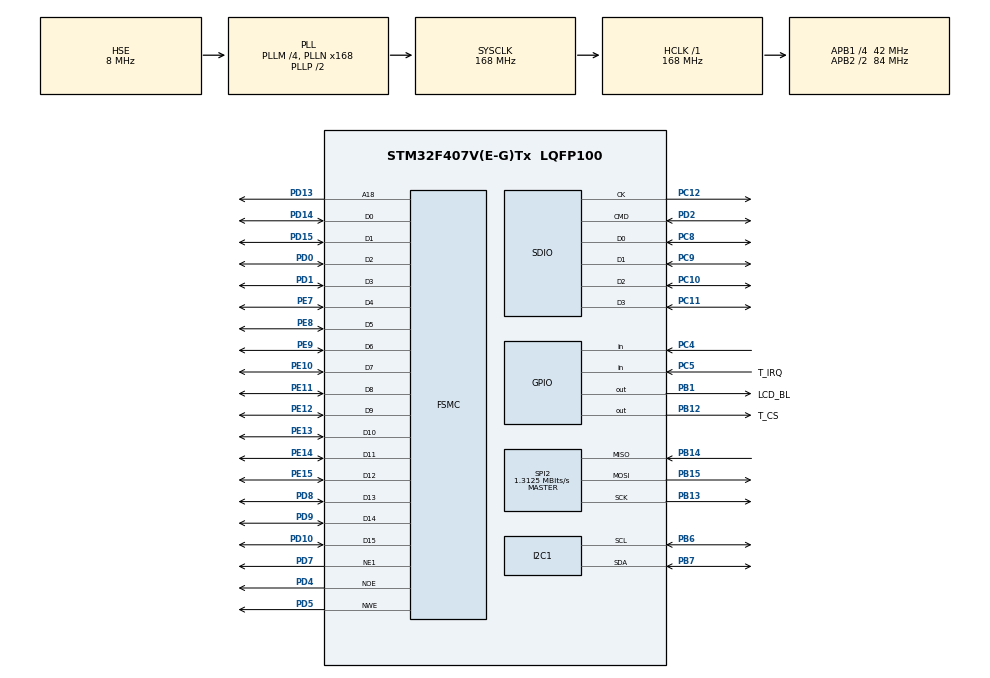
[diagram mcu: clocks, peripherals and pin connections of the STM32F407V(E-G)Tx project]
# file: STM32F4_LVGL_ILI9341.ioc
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Dma.MEMTOMEM.0.Direction=DMA_MEMORY_TO_MEMORY
Dma.MEMTOMEM.0.FIFOMode=DMA_FIFOMODE_ENABLE
Dma.MEMTOMEM.0.FIFOThreshold=DMA_FIFO_THRESHOLD_FULL
Dma.MEMTOMEM.0.Instance=DMA2_Stream0
Dma.MEMTOMEM.0.MemBurst=DMA_MBURST_SINGLE
Dma.MEMTOMEM.0.MemDataAlignment=DMA_MDATAALIGN_HALFWORD
Dma.MEMTOMEM.0.MemInc=DMA_MINC_DISABLE
Dma.MEMTOMEM.0.Mode=DMA_NORMAL
Dma.MEMTOMEM.0.PeriphBurst=DMA_PBURST_SINGLE
Dma.MEMTOMEM.0.PeriphDataAlignment=DMA_PDATAALIGN_HALFWORD
Dma.MEMTOMEM.0.PeriphInc=DMA_PINC_ENABLE
Dma.MEMTOMEM.0.Priority=DMA_PRIORITY_LOW
Dma.Request0=MEMTOMEM
Dma.Request1=SDIO_RX
Dma.Request2=SDIO_TX
Dma.SDIO_RX.1.Direction=DMA_PERIPH_TO_MEMORY
Dma.SDIO_RX.1.FIFOMode=DMA_FIFOMODE_ENABLE
Dma.SDIO_RX.1.FIFOThreshold=DMA_FIFO_THRESHOLD_FULL
Dma.SDIO_RX.1.Instance=DMA2_Stream3
Dma.SDIO_RX.1.MemBurst=DMA_MBURST_INC4
Dma.SDIO_RX.1.MemDataAlignment=DMA_MDATAALIGN_WORD
Dma.SDIO_RX.1.MemInc=DMA_MINC_ENABLE
Dma.SDIO_RX.1.Mode=DMA_PFCTRL
Dma.SDIO_RX.1.PeriphBurst=DMA_PBURST_INC4
Dma.SDIO_RX.1.PeriphDataAlignment=DMA_PDATAALIGN_WORD
Dma.SDIO_RX.1.PeriphInc=DMA_PINC_DISABLE
Dma.SDIO_RX.1.Priority=DMA_PRIORITY_LOW
Dma.SDIO_TX.2.Direction=DMA_MEMORY_TO_PERIPH
Dma.SDIO_TX.2.FIFOMode=DMA_FIFOMODE_ENABLE
Dma.SDIO_TX.2.FIFOThreshold=DMA_FIFO_THRESHOLD_FULL
Dma.SDIO_TX.2.Instance=DMA2_Stream6
Dma.SDIO_TX.2.MemBurst=DMA_MBURST_INC4
Dma.SDIO_TX.2.MemDataAlignment=DMA_MDATAALIGN_WORD
Dma.SDIO_TX.2.MemInc=DMA_MINC_ENABLE
Dma.SDIO_TX.2.Mode=DMA_PFCTRL
Dma.SDIO_TX.2.PeriphBurst=DMA_PBURST_INC4
Dma.SDIO_TX.2.PeriphDataAlignment=DMA_PDATAALIGN_WORD
Dma.SDIO_TX.2.PeriphInc=DMA_PINC_DISABLE
Dma.SDIO_TX.2.Priority=DMA_PRIORITY_LOW
FATFS.BSP.number=1
FATFS.USE_DMA_CODE_SD=1
FATFS._MAX_SS=4096
FATFS0.BSP.STBoard=false
FATFS0.BSP.api=Unknown
FATFS0.BSP.instance=PC4
FATFS0.BSP.ip=GPIO
FATFS0.BSP.mode=Input
FATFS0.BSP.name=Detect_SDIO
FATFS0.BSP.solution=PC4
FREERTOS.Tasks01=defaultTask,-1,4096,StartDefaultTask,Default,NULL,Dynamic,NULL,NULL
FREERTOS.configENABLE_FPU=1
FREERTOS.configTOTAL_HEAP_SIZE=20480
FREERTOS.configUSE_NEWLIB_REENTRANT=1
FSMC.AddressSetupTime1=6
FSMC.BusTurnAroundDuration1=4
FSMC.DataSetupTime1=4
I2C1.I2C_Mode=I2C_Fast
Mcu.Family=STM32F4
Mcu.Name=STM32F407V(E-G)Tx
Mcu.Package=LQFP100
NVIC.DMA2_Stream3_IRQn=true\:5\:0\:false\:false\:true\:true\:false\:true\:true
NVIC.DMA2_Stream6_IRQn=true\:5\:0\:false\:false\:true\:true\:false\:true\:true
NVIC.PriorityGroup=NVIC_PRIORITYGROUP_4
NVIC.SDIO_IRQn=true\:5\:0\:false\:false\:true\:true\:true\:true\:true
NVIC.TIM3_IRQn=true\:5\:0\:false\:false\:true\:true\:true\:true\:true
NVIC.TIM8_TRG_COM_TIM14_IRQn=true\:15\:0\:false\:false\:true\:false\:false\:true\:true
NVIC.TimeBase=TIM8_TRG_COM_TIM14_IRQn
NVIC.TimeBaseIP=TIM14
PA13.Mode=Serial_Wire
PA13.Signal=SYS_JTMS-SWDIO
PA14.Mode=Serial_Wire
PA14.Signal=SYS_JTCK-SWCLK
PB1.GPIO_Label=LCD_BL
PB1.PinState=GPIO_PIN_SET
PB1.Signal=GPIO_Output
PB12.GPIO_Label=T_CS
PB12.Signal=GPIO_Output
PB13.Mode=Full_Duplex_Master
PB13.Signal=SPI2_SCK
PB14.Mode=Full_Duplex_Master
PB14.Signal=SPI2_MISO
PB15.Mode=Full_Duplex_Master
PB15.Signal=SPI2_MOSI
PB6.Mode=I2C
PB6.Signal=I2C1_SCL
PB7.Mode=I2C
PB7.Signal=I2C1_SDA
PC10.Mode=SD_4_bits_Wide_bus
PC10.Signal=SDIO_D2
PC11.Mode=SD_4_bits_Wide_bus
PC11.Signal=SDIO_D3
PC12.Mode=SD_4_bits_Wide_bus
PC12.Signal=SDIO_CK
PC14-OSC32_IN.Mode=LSE-External-Oscillator
PC14-OSC32_IN.Signal=RCC_OSC32_IN
PC15-OSC32_OUT.Mode=LSE-External-Oscillator
PC15-OSC32_OUT.Signal=RCC_OSC32_OUT
PC4.Signal=GPIO_Input
PC5.GPIO_Label=T_IRQ
PC5.Signal=GPIO_Input
PC8.Mode=SD_4_bits_Wide_bus
PC8.Signal=SDIO_D0
PC9.Mode=SD_4_bits_Wide_bus
PC9.Signal=SDIO_D1
PD0.Mode=16b-d1
PD0.Signal=FSMC_D2
PD1.Mode=16b-d1
PD1.Signal=FSMC_D3
PD10.Mode=16b-d1
PD10.Signal=FSMC_D15
PD13.Mode=A18_1
PD13.Signal=FSMC_A18
PD14.Mode=16b-d1
PD14.Signal=FSMC_D0
PD15.Mode=16b-d1
PD15.Signal=FSMC_D1
PD2.Mode=SD_4_bits_Wide_bus
PD2.Signal=SDIO_CMD
PD4.Mode=Lcd1
PD4.Signal=FSMC_NOE
PD5.Mode=Lcd1
PD5.Signal=FSMC_NWE
PD7.Mode=NorPsramChipSelect1_1
PD7.Signal=FSMC_NE1
PD8.Mode=16b-d1
PD8.Signal=FSMC_D13
PD9.Mode=16b-d1
PD9.Signal=FSMC_D14
PE10.Mode=16b-d1
PE10.Signal=FSMC_D7
PE11.Mode=16b-d1
PE11.Signal=FSMC_D8
PE12.Mode=16b-d1
PE12.Signal=FSMC_D9
PE13.Mode=16b-d1
PE13.Signal=FSMC_D10
PE14.Mode=16b-d1
PE14.Signal=FSMC_D11
PE15.Mode=16b-d1
PE15.Signal=FSMC_D12
PE7.Mode=16b-d1
PE7.Signal=FSMC_D4
PE8.Mode=16b-d1
PE8.Signal=FSMC_D5
PE9.Mode=16b-d1
PE9.Signal=FSMC_D6
PH0-OSC_IN.Mode=HSE-External-Oscillator
PH0-OSC_IN.Signal=RCC_OSC_IN
PH1-OSC_OUT.Mode=HSE-External-Oscillator
PH1-OSC_OUT.Signal=RCC_OSC_OUT
ProjectManager.HeapSize=0x200
ProjectManager.StackSize=0x400
ProjectManager.TargetToolchain=STM32CubeIDE
RCC.48MHZClocksFreq_Value=48000000
RCC.AHBFreq_Value=168000000
RCC.APB1CLKDivider=RCC_HCLK_DIV4
RCC.APB1Freq_Value=42000000
RCC.APB1TimFreq_Value=84000000
RCC.APB2CLKDivider=RCC_HCLK_DIV2
RCC.APB2Freq_Value=84000000
RCC.APB2TimFreq_Value=168000000
RCC.CortexFreq_Value=168000000
RCC.HCLKFreq_Value=168000000
RCC.HSE_VALUE=8000000
RCC.HSI_VALUE=16000000
RCC.PLLM=4
RCC.PLLN=168
RCC.PLLQ=7
RCC.PLLSourceVirtual=RCC_PLLSOURCE_HSE
RCC.SYSCLKFreq_VALUE=168000000
RCC.SYSCLKSource=RCC_SYSCLKSOURCE_PLLCLK
RCC.VCOOutputFreq_Value=336000000
SPI2.BaudRatePrescaler=SPI_BAUDRATEPRESCALER_32
SPI2.CalculateBaudRate=1.3125 MBits/s
SPI2.Direction=SPI_DIRECTION_2LINES
SPI2.Mode=SPI_MODE_MASTER
SPI2.VirtualType=VM_MASTER
TIM3.AutoReloadPreload=TIM_AUTORELOAD_PRELOAD_ENABLE
TIM3.Period=10-1
TIM3.Prescaler=42000-1
TIM3.TIM_MasterOutputTrigger=TIM_TRGO_RESET
VP_FATFS_VS_SDIO.Mode=SDIO
VP_FREERTOS_VS_CMSIS_V1.Mode=CMSIS_V1
VP_SYS_VS_tim14.Mode=TIM14
VP_TIM3_VS_ClockSourceINT.Mode=Internal
board=custom

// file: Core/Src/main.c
/* USER CODE BEGIN Header */
/**
  ******************************************************************************
  * @file           : main.c
  * @brief          : Main program body
  ******************************************************************************
  * @attention
  *
  * Copyright (c) 2025 STMicroelectronics.
  * All rights reserved.
  *
  * This software is licensed under terms that can be found in the LICENSE file
  * in the root directory of this software component.
  * If no LICENSE file comes with this software, it is provided AS-IS.
  *
  ******************************************************************************
  */
/* USER CODE END Header */
#include "main.h"
#include "cmsis_os.h"
#include "fatfs.h"

/* USER CODE BEGIN Includes */
#include "XPT2046_touch.h"
#include "lcd_fsmc.h"
#include "lcd_lvgl.h"
#include "lvgl_demo.h"
#include "lv_demo_widgets.h"
/* USER CODE END Includes */

I2C_HandleTypeDef hi2c1;

SD_HandleTypeDef hsd;
DMA_HandleTypeDef hdma_sdio_rx;
DMA_HandleTypeDef hdma_sdio_tx;

SPI_HandleTypeDef hspi2;

TIM_HandleTypeDef htim3;

DMA_HandleTypeDef hdma_memtomem_dma2_stream0;
SRAM_HandleTypeDef hsram1;

osThreadId defaultTaskHandle;

void SystemClock_Config(void);
static void MX_GPIO_Init(void);
static void MX_DMA_Init(void);
static void MX_FSMC_Init(void);
static void MX_SPI2_Init(void);
static void MX_TIM3_Init(void);
static void MX_I2C1_Init(void);
static void MX_SDIO_SD_Init(void);
void StartDefaultTask(void const * argument);

int main(void)
{

  /* MCU Configuration--------------------------------------------------------*/

  /* Reset of all peripherals, Initializes the Flash interface and the Systick. */
  HAL_Init();

  /* Configure the system clock */
  SystemClock_Config();

  /* Initialize all configured peripherals */
  MX_GPIO_Init();
  MX_DMA_Init();
  MX_FSMC_Init();
  MX_SPI2_Init();
  MX_TIM3_Init();
  MX_I2C1_Init();
  MX_SDIO_SD_Init();
  MX_FATFS_Init();

  /* Create the thread(s) */
  /* definition and creation of defaultTask */
  osThreadDef(defaultTask, StartDefaultTask, osPriorityBelowNormal, 0, 4096);
  defaultTaskHandle = osThreadCreate(osThread(defaultTask), NULL);

  /* Start scheduler */
  osKernelStart();

  /* We should never get here as control is now taken by the scheduler */

  /* Infinite loop */
  while (1)
  {

  }
}

void SystemClock_Config(void)
{
  RCC_OscInitTypeDef RCC_OscInitStruct = {0};
  RCC_ClkInitTypeDef RCC_ClkInitStruct = {0};

  /** Configure the main internal regulator output voltage
  */
  __HAL_RCC_PWR_CLK_ENABLE();
  __HAL_PWR_VOLTAGESCALING_CONFIG(PWR_REGULATOR_VOLTAGE_SCALE1);

  /** Initializes the RCC Oscillators according to the specified parameters
  * in the RCC_OscInitTypeDef structure.
  */
  RCC_OscInitStruct.OscillatorType = RCC_OSCILLATORTYPE_HSE;
  RCC_OscInitStruct.HSEState = RCC_HSE_ON;
  RCC_OscInitStruct.PLL.PLLState = RCC_PLL_ON;
  RCC_OscInitStruct.PLL.PLLSource = RCC_PLLSOURCE_HSE;
  RCC_OscInitStruct.PLL.PLLM = 4;
  RCC_OscInitStruct.PLL.PLLN = 168;
  RCC_OscInitStruct.PLL.PLLP = RCC_PLLP_DIV2;
  RCC_OscInitStruct.PLL.PLLQ = 7;
  if (HAL_RCC_OscConfig(&RCC_OscInitStruct) != HAL_OK)
  {
    Error_Handler();
  }

  /** Initializes the CPU, AHB and APB buses clocks
  */
  RCC_ClkInitStruct.ClockType = RCC_CLOCKTYPE_HCLK|RCC_CLOCKTYPE_SYSCLK
                              |RCC_CLOCKTYPE_PCLK1|RCC_CLOCKTYPE_PCLK2;
  RCC_ClkInitStruct.SYSCLKSource = RCC_SYSCLKSOURCE_PLLCLK;
  RCC_ClkInitStruct.AHBCLKDivider = RCC_SYSCLK_DIV1;
  RCC_ClkInitStruct.APB1CLKDivider = RCC_HCLK_DIV4;
  RCC_ClkInitStruct.APB2CLKDivider = RCC_HCLK_DIV2;

  if (HAL_RCC_ClockConfig(&RCC_ClkInitStruct, FLASH_LATENCY_5) != HAL_OK)
  {
    Error_Handler();
  }
}

static void MX_I2C1_Init(void)
{

  hi2c1.Instance = I2C1;
  hi2c1.Init.ClockSpeed = 400000;
  hi2c1.Init.DutyCycle = I2C_DUTYCYCLE_2;
  hi2c1.Init.OwnAddress1 = 0;
  hi2c1.Init.AddressingMode = I2C_ADDRESSINGMODE_7BIT;
  hi2c1.Init.DualAddressMode = I2C_DUALADDRESS_DISABLE;
  hi2c1.Init.OwnAddress2 = 0;
  hi2c1.Init.GeneralCallMode = I2C_GENERALCALL_DISABLE;
  hi2c1.Init.NoStretchMode = I2C_NOSTRETCH_DISABLE;
  if (HAL_I2C_Init(&hi2c1) != HAL_OK)
  {
    Error_Handler();
  }

}

static void MX_SDIO_SD_Init(void)
{

  hsd.Instance = SDIO;
  hsd.Init.ClockEdge = SDIO_CLOCK_EDGE_RISING;
  hsd.Init.ClockBypass = SDIO_CLOCK_BYPASS_DISABLE;
  hsd.Init.ClockPowerSave = SDIO_CLOCK_POWER_SAVE_DISABLE;
  hsd.Init.BusWide = SDIO_BUS_WIDE_4B;
  hsd.Init.HardwareFlowControl = SDIO_HARDWARE_FLOW_CONTROL_DISABLE;
  hsd.Init.ClockDiv = 0;

}

static void MX_SPI2_Init(void)
{

  /* SPI2 parameter configuration*/
  hspi2.Instance = SPI2;
  hspi2.Init.Mode = SPI_MODE_MASTER;
  hspi2.Init.Direction = SPI_DIRECTION_2LINES;
  hspi2.Init.DataSize = SPI_DATASIZE_8BIT;
  hspi2.Init.CLKPolarity = SPI_POLARITY_LOW;
  hspi2.Init.CLKPhase = SPI_PHASE_1EDGE;
  hspi2.Init.NSS = SPI_NSS_SOFT;
  hspi2.Init.BaudRatePrescaler = SPI_BAUDRATEPRESCALER_32;
  hspi2.Init.FirstBit = SPI_FIRSTBIT_MSB;
  hspi2.Init.TIMode = SPI_TIMODE_DISABLE;
  hspi2.Init.CRCCalculation = SPI_CRCCALCULATION_DISABLE;
  hspi2.Init.CRCPolynomial = 10;
  if (HAL_SPI_Init(&hspi2) != HAL_OK)
  {
    Error_Handler();
  }

}

static void MX_TIM3_Init(void)
{

  TIM_ClockConfigTypeDef sClockSourceConfig = {0};
  TIM_MasterConfigTypeDef sMasterConfig = {0};

  htim3.Instance = TIM3;
  htim3.Init.Prescaler = 42000-1;
  htim3.Init.CounterMode = TIM_COUNTERMODE_UP;
  htim3.Init.Period = 10-1;
  htim3.Init.ClockDivision = TIM_CLOCKDIVISION_DIV1;
  htim3.Init.AutoReloadPreload = TIM_AUTORELOAD_PRELOAD_ENABLE;
  if (HAL_TIM_Base_Init(&htim3) != HAL_OK)
  {
    Error_Handler();
  }
  sClockSourceConfig.ClockSource = TIM_CLOCKSOURCE_INTERNAL;
  if (HAL_TIM_ConfigClockSource(&htim3, &sClockSourceConfig) != HAL_OK)
  {
    Error_Handler();
  }
  sMasterConfig.MasterOutputTrigger = TIM_TRGO_RESET;
  sMasterConfig.MasterSlaveMode = TIM_MASTERSLAVEMODE_DISABLE;
  if (HAL_TIMEx_MasterConfigSynchronization(&htim3, &sMasterConfig) != HAL_OK)
  {
    Error_Handler();
  }

}

static void MX_DMA_Init(void)
{

  /* DMA controller clock enable */
  __HAL_RCC_DMA2_CLK_ENABLE();

  /* Configure DMA request hdma_memtomem_dma2_stream0 on DMA2_Stream0 */
  hdma_memtomem_dma2_stream0.Instance = DMA2_Stream0;
  hdma_memtomem_dma2_stream0.Init.Channel = DMA_CHANNEL_0;
  hdma_memtomem_dma2_stream0.Init.Direction = DMA_MEMORY_TO_MEMORY;
  hdma_memtomem_dma2_stream0.Init.PeriphInc = DMA_PINC_ENABLE;
  hdma_memtomem_dma2_stream0.Init.MemInc = DMA_MINC_DISABLE;
  hdma_memtomem_dma2_stream0.Init.PeriphDataAlignment = DMA_PDATAALIGN_HALFWORD;
  hdma_memtomem_dma2_stream0.Init.MemDataAlignment = DMA_MDATAALIGN_HALFWORD;
  hdma_memtomem_dma2_stream0.Init.Mode = DMA_NORMAL;
  hdma_memtomem_dma2_stream0.Init.Priority = DMA_PRIORITY_LOW;
  hdma_memtomem_dma2_stream0.Init.FIFOMode = DMA_FIFOMODE_ENABLE;
  hdma_memtomem_dma2_stream0.Init.FIFOThreshold = DMA_FIFO_THRESHOLD_FULL;
  hdma_memtomem_dma2_stream0.Init.MemBurst = DMA_MBURST_SINGLE;
  hdma_memtomem_dma2_stream0.Init.PeriphBurst = DMA_PBURST_SINGLE;
  if (HAL_DMA_Init(&hdma_memtomem_dma2_stream0) != HAL_OK)
  {
    Error_Handler( );
  }

  /* DMA interrupt init */
  /* DMA2_Stream3_IRQn interrupt configuration */
  HAL_NVIC_SetPriority(DMA2_Stream3_IRQn, 5, 0);
  HAL_NVIC_EnableIRQ(DMA2_Stream3_IRQn);
  /* DMA2_Stream6_IRQn interrupt configuration */
  HAL_NVIC_SetPriority(DMA2_Stream6_IRQn, 5, 0);
  HAL_NVIC_EnableIRQ(DMA2_Stream6_IRQn);

}

static void MX_GPIO_Init(void)
{
  GPIO_InitTypeDef GPIO_InitStruct = {0};

  /* GPIO Ports Clock Enable */
  __HAL_RCC_GPIOC_CLK_ENABLE();
  __HAL_RCC_GPIOH_CLK_ENABLE();
  __HAL_RCC_GPIOB_CLK_ENABLE();
  __HAL_RCC_GPIOE_CLK_ENABLE();
  __HAL_RCC_GPIOD_CLK_ENABLE();
  __HAL_RCC_GPIOA_CLK_ENABLE();

  /*Configure GPIO pin Output Level */
  HAL_GPIO_WritePin(LCD_BL_GPIO_Port, LCD_BL_Pin, GPIO_PIN_SET);

  /*Configure GPIO pin Output Level */
  HAL_GPIO_WritePin(T_CS_GPIO_Port, T_CS_Pin, GPIO_PIN_RESET);

  /*Configure GPIO pins : PC4 T_IRQ_Pin */
  GPIO_InitStruct.Pin = GPIO_PIN_4|T_IRQ_Pin;
  GPIO_InitStruct.Mode = GPIO_MODE_INPUT;
  GPIO_InitStruct.Pull = GPIO_NOPULL;
  HAL_GPIO_Init(GPIOC, &GPIO_InitStruct);

  /*Configure GPIO pins : LCD_BL_Pin T_CS_Pin */
  GPIO_InitStruct.Pin = LCD_BL_Pin|T_CS_Pin;
  GPIO_InitStruct.Mode = GPIO_MODE_OUTPUT_PP;
  GPIO_InitStruct.Pull = GPIO_NOPULL;
  GPIO_InitStruct.Speed = GPIO_SPEED_FREQ_LOW;
  HAL_GPIO_Init(GPIOB, &GPIO_InitStruct);

}

/* FSMC initialization function */
static void MX_FSMC_Init(void)
{

  FSMC_NORSRAM_TimingTypeDef Timing = {0};

  /** Perform the SRAM1 memory initialization sequence
  */
  hsram1.Instance = FSMC_NORSRAM_DEVICE;
  hsram1.Extended = FSMC_NORSRAM_EXTENDED_DEVICE;
  /* hsram1.Init */
  hsram1.Init.NSBank = FSMC_NORSRAM_BANK1;
  hsram1.Init.DataAddressMux = FSMC_DATA_ADDRESS_MUX_DISABLE;
  hsram1.Init.MemoryType = FSMC_MEMORY_TYPE_SRAM;
  hsram1.Init.MemoryDataWidth = FSMC_NORSRAM_MEM_BUS_WIDTH_16;
  hsram1.Init.BurstAccessMode = FSMC_BURST_ACCESS_MODE_DISABLE;
  hsram1.Init.WaitSignalPolarity = FSMC_WAIT_SIGNAL_POLARITY_LOW;
  hsram1.Init.WrapMode = FSMC_WRAP_MODE_DISABLE;
  hsram1.Init.WaitSignalActive = FSMC_WAIT_TIMING_BEFORE_WS;
  hsram1.Init.WriteOperation = FSMC_WRITE_OPERATION_ENABLE;
  hsram1.Init.WaitSignal = FSMC_WAIT_SIGNAL_DISABLE;
  hsram1.Init.ExtendedMode = FSMC_EXTENDED_MODE_DISABLE;
  hsram1.Init.AsynchronousWait = FSMC_ASYNCHRONOUS_WAIT_DISABLE;
  hsram1.Init.WriteBurst = FSMC_WRITE_BURST_DISABLE;
  hsram1.Init.PageSize = FSMC_PAGE_SIZE_NONE;
  /* Timing */
  Timing.AddressSetupTime = 6;
  Timing.AddressHoldTime = 15;
  Timing.DataSetupTime = 4;
  Timing.BusTurnAroundDuration = 4;
  Timing.CLKDivision = 16;
  Timing.DataLatency = 17;
  Timing.AccessMode = FSMC_ACCESS_MODE_A;
  /* ExtTiming */

  if (HAL_SRAM_Init(&hsram1, &Timing, NULL) != HAL_OK)
  {
    Error_Handler( );
  }

}

void StartDefaultTask(void const * argument)
{
  /* USER CODE BEGIN 5 */
	f_mount(&SDFatFS, SDPath, 1);
	HAL_TIM_Base_Start_IT(&htim3);
	HAL_I2C_Init(&hi2c1);

	lcd_backlight_on();
	lcd_init();
	lcd_set_orientation(LCD_ORIENTATION_LANDSCAPE);

	while(!XPT2046_TouchCalibration()) {
		vTaskDelay(100);
	}

	lvgl_init();
	lvgl_xpt2046_touch_init();

	//dma_demo();
	//vTaskDelay(5000);
	/*
	lv_obj_clean(lv_scr_act());
	test_with_dma=1;
	for (int i=0; i < 2; i++) {
	  test_with_dma = (test_with_dma+1)%2;
	  sd_img_dma_demo();
	  lv_obj_clean(lv_scr_act());
	}
	*/

	lv_demo_widgets();

  /* Infinite loop */
  for(;;)
  {
	//if (xSemaphoreTake(GUI_mutex, portMAX_DELAY) == pdTRUE){
		lv_task_handler();
		//xSemaphoreGive(GUI_mutex);
	//}
	vTaskDelay(5);
  }
  /* USER CODE END 5 */
}

void HAL_TIM_PeriodElapsedCallback(TIM_HandleTypeDef *htim)
{
  if (htim->Instance == TIM14)
  {
    HAL_IncTick();
  }
  /* USER CODE BEGIN Callback 1 */
  lv_tick_inc(1);
  /* USER CODE END Callback 1 */
}

void Error_Handler(void)
{
  __disable_irq();
  while (1)
  {
  }
}
